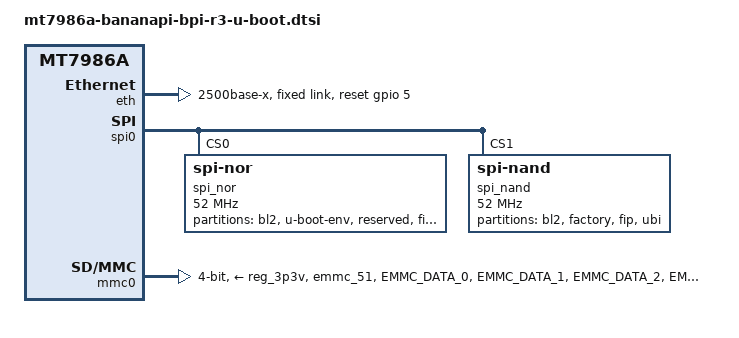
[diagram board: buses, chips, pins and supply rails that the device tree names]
/{
	timer0: timer@10008000 {
		compatible = "mediatek,mt7986-timer";
		reg = <0x10008000 0x1000>;
		interrupts = <GIC_SPI 130 IRQ_TYPE_LEVEL_HIGH>;
		clocks = <&topckgen CLK_TOP_F26M_SEL>;
		clock-names = "gpt-clk";
		bootph-all;
	};
};

&pio {
	mmc0_pins_default: mmc0default {
		mux {
			function = "flash";
			groups =  "emmc_51";
		};

		conf-cmd-dat {
			pins = "EMMC_DATA_0", "EMMC_DATA_1", "EMMC_DATA_2",
			       "EMMC_DATA_3", "EMMC_DATA_4", "EMMC_DATA_5",
			       "EMMC_DATA_6", "EMMC_DATA_7", "EMMC_CMD";
			input-enable;
			drive-strength = <MTK_DRIVE_4mA>;
			bias-pull-up = <MTK_PUPD_SET_R1R0_01>;
		};

		conf-clk {
			pins = "EMMC_CK";
			drive-strength = <MTK_DRIVE_6mA>;
			bias-pull-down = <MTK_PUPD_SET_R1R0_10>;
		};

		conf-dsl {
			pins = "EMMC_DSL";
			bias-pull-down = <MTK_PUPD_SET_R1R0_10>;
		};

		conf-rst {
			pins = "EMMC_RSTB";
			drive-strength = <MTK_DRIVE_4mA>;
			bias-pull-up = <MTK_PUPD_SET_R1R0_01>;
		};
	};
};

&eth {
	status = "okay";
	mediatek,gmac-id = <0>;
	phy-mode = "2500base-x";
	mediatek,switch = "mt7531";
	reset-gpios = <&gpio 5 GPIO_ACTIVE_HIGH>;

	fixed-link {
		speed = <2500>;
		full-duplex;
	};
};

&spi0 {
	#address-cells = <1>;
	#size-cells = <0>;
	pinctrl-names = "default";
	pinctrl-0 = <&spi_flash_pins>;
	status = "okay";
	must_tx;
	enhance_timing;
	dma_ext;
	ipm_design;
	support_quad;
	tick_dly = <1>;
	sample_sel = <0>;

	spi_nor@0 {
		compatible = "jedec,spi-nor";
		reg = <0>;
		spi-max-frequency = <52000000>;

		partitions {
			compatible = "fixed-partitions";
			#address-cells = <1>;
			#size-cells = <1>;

			partition@0 {
				label = "bl2";
				reg = <0x0 0x40000>;
			};

			partition@40000 {
				label = "u-boot-env";
				reg = <0x40000 0x40000>;
			};

			partition@80000 {
				label = "reserved";
				reg = <0x80000 0x80000>;
			};

			partition@100000 {
				label = "fip";
				reg = <0x100000 0x80000>;
			};

			partition@180000 {
				label = "recovery";
				reg = <0x180000 0xa80000>;
			};

			partition@c00000 {
				label = "fit";
				reg = <0xc00000 0x1400000>;
			};
		};
	};

	spi_nand@1 {
		compatible = "spi-nand";
		reg = <1>;
		spi-max-frequency = <52000000>;

		partitions {
			compatible = "fixed-partitions";
			#address-cells = <1>;
			#size-cells = <1>;

			partition@0 {
				label = "bl2";
				reg = <0x0 0x80000>;
			};

			partition@80000 {
				label = "factory";
				reg = <0x80000 0x300000>;
			};

			partition@380000 {
				label = "fip";
				reg = <0x380000 0x200000>;
			};

			partition@580000 {
				label = "ubi";
				reg = <0x580000 0x7a80000>;
			};
		};
	};
};

&mmc0 {
	pinctrl-names = "default";
	pinctrl-0 = <&mmc0_pins_default>;
	bus-width = <4>;
	max-frequency = <52000000>;
	cap-sd-highspeed;
	r_smpl = <1>;
	vmmc-supply = <&reg_3p3v>;
	vqmmc-supply = <&reg_3p3v>;
	status = "okay";
};
